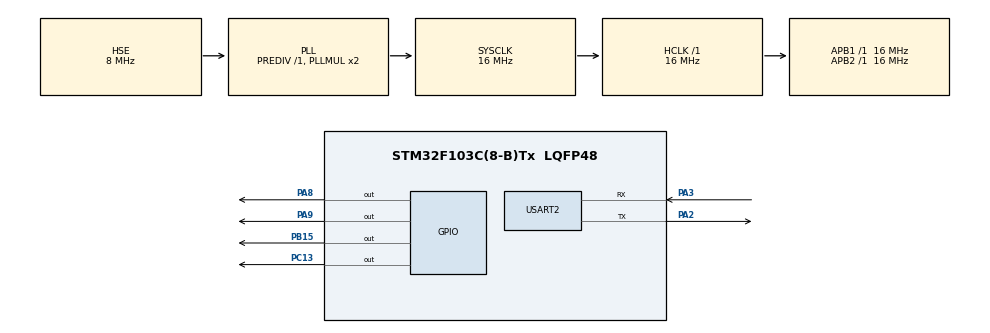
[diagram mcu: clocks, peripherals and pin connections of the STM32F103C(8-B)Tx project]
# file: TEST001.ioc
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Mcu.Family=STM32F1
Mcu.Name=STM32F103C(8-B)Tx
Mcu.Package=LQFP48
NVIC.PriorityGroup=NVIC_PRIORITYGROUP_4
NVIC.USART2_IRQn=true\:0\:0\:false\:false\:true\:true\:true
PA2.Mode=Asynchronous
PA2.Signal=USART2_TX
PA3.Mode=Asynchronous
PA3.Signal=USART2_RX
PA8.Signal=GPIO_Output
PA9.Signal=GPIO_Output
PB15.PinState=GPIO_PIN_RESET
PB15.Signal=GPIO_Output
PC13-TAMPER-RTC.Signal=GPIO_Output
PD0-OSC_IN.Mode=HSE-External-Oscillator
PD0-OSC_IN.Signal=RCC_OSC_IN
PD1-OSC_OUT.Mode=HSE-External-Oscillator
PD1-OSC_OUT.Signal=RCC_OSC_OUT
ProjectManager.HeapSize=0x200
ProjectManager.StackSize=0x400
ProjectManager.TargetToolchain=MDK-ARM V5.32
RCC.AHBFreq_Value=16000000
RCC.APB1Freq_Value=16000000
RCC.APB1TimFreq_Value=16000000
RCC.APB2Freq_Value=16000000
RCC.APB2TimFreq_Value=16000000
RCC.HCLKFreq_Value=16000000
RCC.PLLSourceVirtual=RCC_PLLSOURCE_HSE
RCC.SYSCLKFreq_VALUE=16000000
RCC.SYSCLKSource=RCC_SYSCLKSOURCE_PLLCLK
RCC.USBFreq_Value=16000000
USART2.VirtualMode=VM_ASYNC
VP_SYS_VS_ND.Mode=No_Debug
board=custom

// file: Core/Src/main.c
/* USER CODE BEGIN Header */
/**
  ******************************************************************************
  * @file           : main.c
  * @brief          : Main program body
  ******************************************************************************
  * @attention
  *
  * Copyright (c) 2024 STMicroelectronics.
  * All rights reserved.
  *
  * This software is licensed under terms that can be found in the LICENSE file
  * in the root directory of this software component.
  * If no LICENSE file comes with this software, it is provided AS-IS.
  *
  ******************************************************************************
  */
/* USER CODE END Header */
#include "main.h"

/* USER CODE BEGIN Includes */
#include "string.h"
/* USER CODE END Includes */

UART_HandleTypeDef huart2;

void SystemClock_Config(void);
static void MX_GPIO_Init(void);
static void MX_USART2_UART_Init(void);
/* USER CODE BEGIN PFP */
void PortInit(void);
void PortSetHi(void);
void PortSetLow(void);
/* USER CODE END PFP */

/* USER CODE BEGIN 0 */
void PortInit(void)
{
  RCC->APB2ENR |= RCC_APB2ENR_IOPCEN; //Включаем тактирование порта GPIOC

  GPIOC->CRH &= ~(GPIO_CRH_MODE12 | GPIO_CRH_CNF12); //для начала все сбрасываем в ноль

  //MODE: выход с максимальной частотой 2 МГц
  //CNF: режим push-pull
  GPIOC->CRH |= (0x02 << GPIO_CRH_MODE12_Pos) | (0x00 << GPIO_CRH_CNF12_Pos);
}
void PortSetHi(void)
{
  GPIOC->ODR |= (1<<13);
}
void PortSetLow(void)
{
  GPIOC->ODR &= ~(1<<13);
}
/* USER CODE END 0 */

int main(void)
{
  /* USER CODE BEGIN 1 */
  char test[] = "TESA" ;

  /* USER CODE END 1 */

  /* MCU Configuration--------------------------------------------------------*/

  /* Reset of all peripherals, Initializes the Flash interface and the Systick. */
  HAL_Init();

  /* Configure the system clock */
  SystemClock_Config();

  /* Initialize all configured peripherals */
  MX_GPIO_Init();
  MX_USART2_UART_Init();

  /* Infinite loop */
  /* USER CODE BEGIN WHILE */
  while (1)
  {
		HAL_UART_Transmit(&huart2, (uint8_t*)test, strlen(test), HAL_MAX_DELAY);
		if(HAL_GPIO_ReadPin(GPIOB, GPIO_PIN_15) == GPIO_PIN_SET) {
			HAL_GPIO_WritePin(GPIOB, GPIO_PIN_15, GPIO_PIN_RESET);
		} else {
			HAL_GPIO_WritePin(GPIOB, GPIO_PIN_15, GPIO_PIN_SET);
		}
		if(HAL_GPIO_ReadPin(GPIOA, GPIO_PIN_8) == GPIO_PIN_SET) {
			HAL_GPIO_WritePin(GPIOA, GPIO_PIN_8, GPIO_PIN_RESET);
		} else {
			HAL_GPIO_WritePin(GPIOA, GPIO_PIN_8, GPIO_PIN_SET);
		}
		if(HAL_GPIO_ReadPin(GPIOA, GPIO_PIN_9) == GPIO_PIN_SET) {
			HAL_GPIO_WritePin(GPIOA, GPIO_PIN_9, GPIO_PIN_RESET);
		} else {
			HAL_GPIO_WritePin(GPIOA, GPIO_PIN_9, GPIO_PIN_SET);
		}
		HAL_Delay(500);
    /* USER CODE END WHILE */

  }
}

void SystemClock_Config(void)
{
  RCC_OscInitTypeDef RCC_OscInitStruct = {0};
  RCC_ClkInitTypeDef RCC_ClkInitStruct = {0};

  /** Initializes the RCC Oscillators according to the specified parameters
  * in the RCC_OscInitTypeDef structure.
  */
  RCC_OscInitStruct.OscillatorType = RCC_OSCILLATORTYPE_HSE;
  RCC_OscInitStruct.HSEState = RCC_HSE_ON;
  RCC_OscInitStruct.HSEPredivValue = RCC_HSE_PREDIV_DIV1;
  RCC_OscInitStruct.HSIState = RCC_HSI_ON;
  RCC_OscInitStruct.PLL.PLLState = RCC_PLL_ON;
  RCC_OscInitStruct.PLL.PLLSource = RCC_PLLSOURCE_HSE;
  RCC_OscInitStruct.PLL.PLLMUL = RCC_PLL_MUL2;
  if (HAL_RCC_OscConfig(&RCC_OscInitStruct) != HAL_OK)
  {
    Error_Handler();
  }
  /** Initializes the CPU, AHB and APB buses clocks
  */
  RCC_ClkInitStruct.ClockType = RCC_CLOCKTYPE_HCLK|RCC_CLOCKTYPE_SYSCLK
                              |RCC_CLOCKTYPE_PCLK1|RCC_CLOCKTYPE_PCLK2;
  RCC_ClkInitStruct.SYSCLKSource = RCC_SYSCLKSOURCE_PLLCLK;
  RCC_ClkInitStruct.AHBCLKDivider = RCC_SYSCLK_DIV1;
  RCC_ClkInitStruct.APB1CLKDivider = RCC_HCLK_DIV1;
  RCC_ClkInitStruct.APB2CLKDivider = RCC_HCLK_DIV1;

  if (HAL_RCC_ClockConfig(&RCC_ClkInitStruct, FLASH_LATENCY_0) != HAL_OK)
  {
    Error_Handler();
  }
}

static void MX_USART2_UART_Init(void)
{

  huart2.Instance = USART2;
  huart2.Init.BaudRate = 115200;
  huart2.Init.WordLength = UART_WORDLENGTH_8B;
  huart2.Init.StopBits = UART_STOPBITS_1;
  huart2.Init.Parity = UART_PARITY_NONE;
  huart2.Init.Mode = UART_MODE_TX_RX;
  huart2.Init.HwFlowCtl = UART_HWCONTROL_NONE;
  huart2.Init.OverSampling = UART_OVERSAMPLING_16;
  if (HAL_UART_Init(&huart2) != HAL_OK)
  {
    Error_Handler();
  }

}

static void MX_GPIO_Init(void)
{
  GPIO_InitTypeDef GPIO_InitStruct = {0};

  /* GPIO Ports Clock Enable */
  __HAL_RCC_GPIOC_CLK_ENABLE();
  __HAL_RCC_GPIOD_CLK_ENABLE();
  __HAL_RCC_GPIOA_CLK_ENABLE();
  __HAL_RCC_GPIOB_CLK_ENABLE();

  /*Configure GPIO pin Output Level */
  HAL_GPIO_WritePin(GPIOC, GPIO_PIN_13, GPIO_PIN_RESET);

  /*Configure GPIO pin Output Level */
  HAL_GPIO_WritePin(GPIOB, GPIO_PIN_15, GPIO_PIN_RESET);

  /*Configure GPIO pin Output Level */
  HAL_GPIO_WritePin(GPIOA, GPIO_PIN_8|GPIO_PIN_9, GPIO_PIN_RESET);

  /*Configure GPIO pin : PC13 */
  GPIO_InitStruct.Pin = GPIO_PIN_13;
  GPIO_InitStruct.Mode = GPIO_MODE_OUTPUT_PP;
  GPIO_InitStruct.Pull = GPIO_NOPULL;
  GPIO_InitStruct.Speed = GPIO_SPEED_FREQ_LOW;
  HAL_GPIO_Init(GPIOC, &GPIO_InitStruct);

  /*Configure GPIO pin : PB15 */
  GPIO_InitStruct.Pin = GPIO_PIN_15;
  GPIO_InitStruct.Mode = GPIO_MODE_OUTPUT_PP;
  GPIO_InitStruct.Pull = GPIO_NOPULL;
  GPIO_InitStruct.Speed = GPIO_SPEED_FREQ_LOW;
  HAL_GPIO_Init(GPIOB, &GPIO_InitStruct);

  /*Configure GPIO pins : PA8 PA9 */
  GPIO_InitStruct.Pin = GPIO_PIN_8|GPIO_PIN_9;
  GPIO_InitStruct.Mode = GPIO_MODE_OUTPUT_PP;
  GPIO_InitStruct.Pull = GPIO_NOPULL;
  GPIO_InitStruct.Speed = GPIO_SPEED_FREQ_LOW;
  HAL_GPIO_Init(GPIOA, &GPIO_InitStruct);

}

void Error_Handler(void)
{
  __disable_irq();
  while (1)
  {
  }
}
